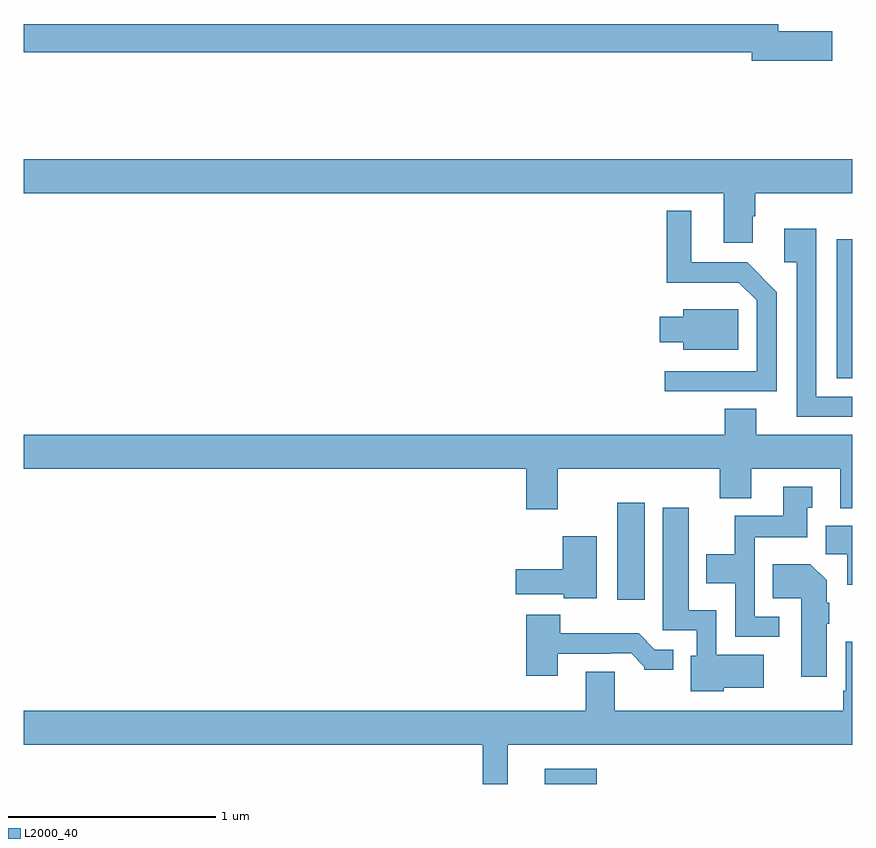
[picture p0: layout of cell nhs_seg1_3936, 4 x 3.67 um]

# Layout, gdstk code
import gdstk
lib = gdstk.Library(unit=1e-6, precision=1e-09)
def R(c, l, rs):  # rectangles x0, y0, x1, y1
    for r in rs: c.add(gdstk.rectangle(r[:2], r[2:], *l))
def P(c, l, *ps):  # polygons
    for p in ps: c.add(gdstk.Polygon(p, *l))
L2000_40 = (2000, 40)

nhs_seg1_3936 = lib.new_cell('nhs_seg1_3936')
R(nhs_seg1_3936, L2000_40, [(327.515,562.199,327.766,562.273), (327.866,563.088,327.997,563.557), (328.925,564.158,329,564.828)])
P(nhs_seg1_3936, L2000_40, [(328.903,565.832),(328.642,565.832),(328.642,565.868),(325,565.868),(325,565.732),(328.514,565.732),(328.514,565.69),(328.903,565.69)],
  [(328.519,564.941),(328.532,564.941),(328.532,565.052),(329,565.052),(329,565.216),(325,565.216),(325,565.052),(328.379,565.052),(328.379,564.813),(328.519,564.813)],
  [(328.635,564.574),(328.492,564.717),(328.222,564.717),(328.222,564.967),(328.105,564.967),(328.105,564.62),(328.453,564.62),(328.539,564.534),(328.539,564.192),(328.095,564.192),(328.095,564.096),(328.635,564.096)],
  [(329,564.069),(328.827,564.069),(328.827,564.88),(328.671,564.88),(328.671,564.719),(328.731,564.719),(328.731,563.973),(329,563.973)],
  [(328.449,564.49),(328.184,564.49),(328.184,564.454),(328.07,564.454),(328.07,564.332),(328.184,564.332),(328.184,564.296),(328.449,564.296)],
  [(327.577,563.72),(328.361,563.72),(328.361,563.579),(328.513,563.579),(328.513,563.72),(328.943,563.72),(328.943,563.531),(329,563.531),(329,563.884),(328.537,563.884),(328.537,564.011),(328.385,564.011),(328.385,563.884),(325,563.884),(325,563.72),(327.425,563.72),(327.425,563.526),(327.577,563.526)],
  [(328.648,563.007),(328.53,563.007),(328.53,563.39),(328.783,563.39),(328.783,563.532),(328.807,563.532),(328.807,563.635),(328.667,563.635),(328.667,563.494),(328.432,563.494),(328.432,563.308),(328.295,563.308),(328.295,563.168),(328.434,563.168),(328.434,562.911),(328.648,562.911)],
  [(328.38,562.664),(328.573,562.664),(328.573,562.822),(328.344,562.822),(328.344,563.038),(328.21,563.038),(328.21,563.533),(328.085,563.533),(328.085,562.941),(328.248,562.941),(328.248,562.818),(328.22,562.818),(328.22,562.646),(328.38,562.646)],
  [(329,563.446),(328.871,563.446),(328.871,563.308),(328.976,563.308),(328.976,563.16),(329,563.16)],
  [(327.766,563.395),(327.602,563.395),(327.602,563.236),(327.375,563.236),(327.375,563.114),(327.606,563.114),(327.606,563.096),(327.766,563.096)],
  [(328.876,562.972),(328.889,562.972),(328.889,563.075),(328.876,563.075),(328.876,563.182),(328.798,563.26),(328.615,563.26),(328.615,563.096),(328.754,563.096),(328.754,562.716),(328.876,562.716)],
  [(327.577,562.827),(327.833,562.827),(327.833,562.83),(327.932,562.83),(327.996,562.766),(327.996,562.751),(328.135,562.751),(328.135,562.848),(328.047,562.848),(327.969,562.927),(327.59,562.927),(327.59,563.017),(327.425,563.017),(327.425,562.722),(327.577,562.722)],
  [(327.337,562.388),(329,562.388),(329,562.885),(328.968,562.885),(328.968,562.648),(328.956,562.648),(328.956,562.552),(327.853,562.552),(327.853,562.742),(327.713,562.742),(327.713,562.552),(325,562.552),(325,562.388),(327.216,562.388),(327.216,562.199),(327.337,562.199)])

lib.write_gds('nhs_seg1_3936.gds')
